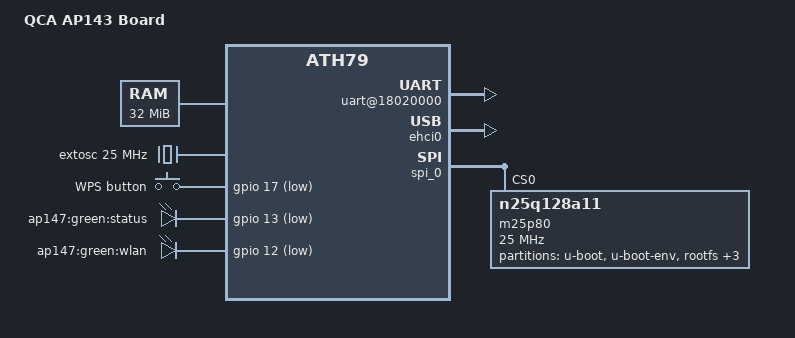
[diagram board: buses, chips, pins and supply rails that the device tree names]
/* Copyright (c) 2016, The Linux Foundation. All rights reserved.
 *
 * Permission to use, copy, modify, and/or distribute this software for any
 * purpose with or without fee is hereby granted, provided that the above
 * copyright notice and this permission notice appear in all copies.
 *
 * THE SOFTWARE IS PROVIDED "AS IS" AND THE AUTHOR DISCLAIMS ALL WARRANTIES
 * WITH REGARD TO THIS SOFTWARE INCLUDING ALL IMPLIED WARRANTIES OF
 * MERCHANTABILITY AND FITNESS. IN NO EVENT SHALL THE AUTHOR BE LIABLE FOR
 * ANY SPECIAL, DIRECT, INDIRECT, OR CONSEQUENTIAL DAMAGES OR ANY DAMAGES
 * WHATSOEVER RESULTING FROM LOSS OF USE, DATA OR PROFITS, WHETHER IN AN
 * ACTION OF CONTRACT, NEGLIGENCE OR OTHER TORTIOUS ACTION, ARISING OUT OF
 * OR IN CONNECTION WITH THE USE OR PERFORMANCE OF THIS SOFTWARE.
 *
 */

/dts-v1/;

#include <dt-bindings/gpio/gpio.h>
#include <dt-bindings/input/input.h>

#include "ath79.dtsi"

/ {
	compatible = "qca,ap143", "qca,ath79";
	model = "QCA AP143 Board";

	aliases {
		serial0 = "/ahb/apb/uart@18020000";
	};

	memory@0 {
		device_type = "memory";
		reg = <0x0 0x2000000>;
	};

	chosen {
		bootargs = "board=DTB console=ttyS0,115200 mtdparts=spi0.0:256k(u-boot)ro,64k(u-boot-env),6336k(rootfs),1472k(kernel),64k(art),7808k@0x50000(firmware) rootfstype=squashfs,jffs2 noinitrd crashkernel=10M@20M";
	};

	extosc: oscillator {
		compatible = "fixed-clock";
		#clock-cells = <0>;
		clock-frequency = <25000000>;
	};

	cpuintc: interrupt-controller {
		qca,ddr-wb-channel-interrupts = <3>;
		qca,ddr-wb-channels = <&ddr_ctrl 0x2>;
	};

	ahb {
		apb {
			uart@18020000 {
				status = "okay";
			};

			gpio@18040000 {
				val,gpio = <
					45 4
					41 16
					42 15
					43 14
					44 11
				>;
			};

			pll-controller@18050000 {
				clocks = <&extosc>;
			};

			ip3_int: interrupt-controller@ip3_int {
				status = "disabled";
			};

			ehci0: usb@1b000000 {
				compatible = "qca,ath79-ehci", "qca,ap147-ehci";
				reg = <0x1b000000 0x200>;
				interrupt-parent = <&cpuintc>;
				interrupts = <3>;
				has-transaction-translator;
				qca_force_host_mode;
				qca_force_16bit_ptw;
				caps-offset = <0x100>;
				status = "okay";
			};
		};

		spi_0: spi@1f000000 {
			status = "okay";
			m25p80@0 {
				#address-cells = <1>;
				#size-cells = <1>;
				compatible = "n25q128a11";
				linux,modalias = "m25p80", "n25q128a11";
				reg = <0>;
				spi-max-frequency = <25000000>;

				partition@0 {
					label = "u-boot";
					reg = <0x000000 0x040000>;
				};

				partition@1 {
					label = "u-boot-env";
					reg = <0x040000 0x050000>;
				};

				partition@2 {
					label = "rootfs";
					reg = <0x050000 0xe80000>;
				};

				partition@3 {
					label = "kernel";
					reg = <0xe80000 0xff0000>;
				};

				partition@4 {
					label = "art";
					reg = <0xff0000 0x1000000>;
				};

				partition@5 {
					label = "firmware";
					reg = <0x50000 0xff0000>;
				};
			};
		};

	};

	gpio-keys-polled {
		compatible = "gpio-keys-polled";
		#address-cells = <1>;
		#size-cells = <0>;

		poll-interval = <20>;

		button@0 {
			label = "WPS button";
			linux,code = <KEY_WPS_BUTTON>;
			gpios = <&gpio 17 GPIO_ACTIVE_LOW>;
			debounce-interval = <60>;
		};
	};

	leds {
		compatible = "gpio-leds";
		led@0 {
			label = "ap147:green:status";
			gpios = <&gpio 13 GPIO_ACTIVE_LOW>;
		};

		led@1 {
			label = "ap147:green:wlan";
			gpios = <&gpio 12 GPIO_ACTIVE_LOW>;
		};

	};
};
